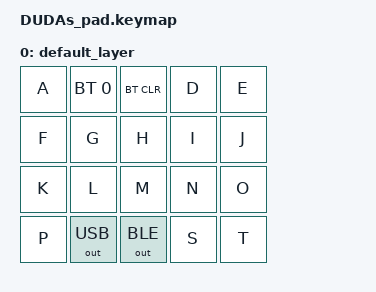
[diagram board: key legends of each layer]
#include <behaviors.dtsi>
#include <dt-bindings/zmk/outputs.h>
#include <dt-bindings/zmk/bt.h>
#include <dt-bindings/zmk/keys.h>


/ {
    keymap {
        compatible = "zmk,keymap";

        default_layer {

            bindings = <
    &kp A  &bt BT_SEL 0  &bt BT_CLR   &kp D  &kp E
    &kp F  &kp G         &kp H        &kp I  &kp J
    &kp K  &kp L         &kp M        &kp N  &kp O
    &kp P  &out OUT_USB  &out OUT_BLE &kp S  &kp T
            >;
        };
    };
};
